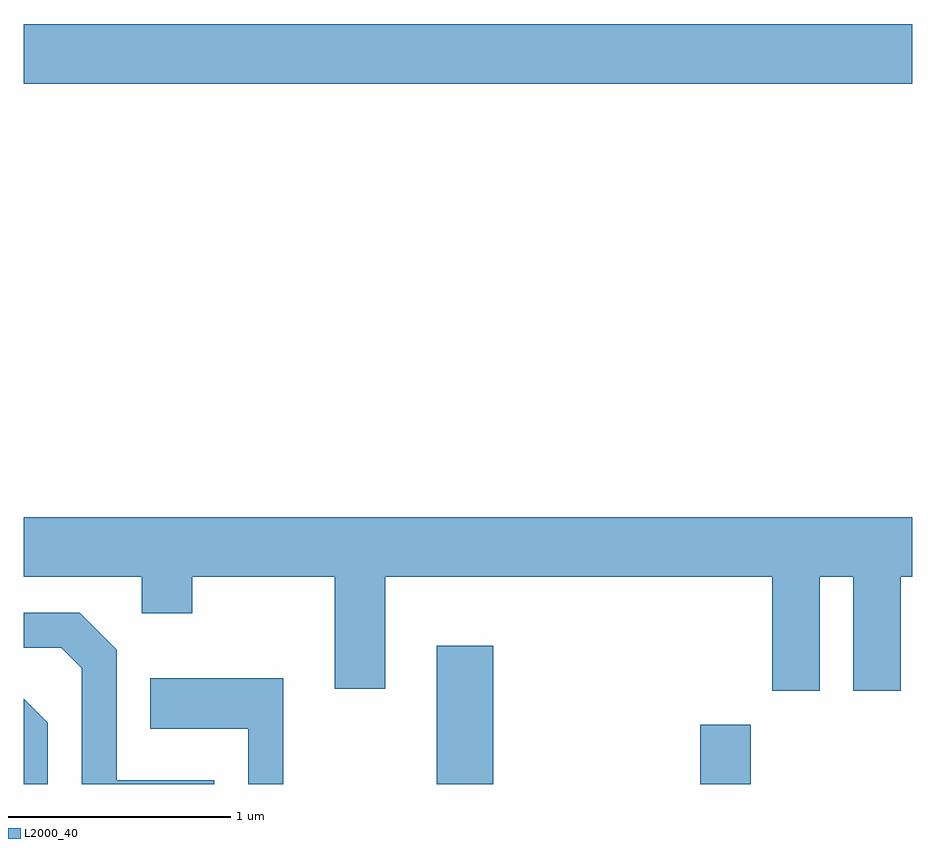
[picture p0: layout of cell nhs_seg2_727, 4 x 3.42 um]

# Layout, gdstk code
import gdstk
lib = gdstk.Library(unit=1e-6, precision=1e-09)
def R(c, l, rs):  # rectangles x0, y0, x1, y1
    for r in rs: c.add(gdstk.rectangle(r[:2], r[2:], *l))
def P(c, l, *ps):  # polygons
    for p in ps: c.add(gdstk.Polygon(p, *l))
L2000_40 = (2000, 40)

nhs_seg2_727 = lib.new_cell('nhs_seg2_727')
R(nhs_seg2_727, L2000_40, [(207.471,1071.802,207.724,1072.424), (208.656,1071.802,208.884,1072.069), (205.611,1074.956,209.611,1075.224)])
P(nhs_seg2_727, L2000_40, [(209.194,1072.736),(209.346,1072.736),(209.346,1072.221),(209.559,1072.221),(209.559,1072.736),(209.611,1072.736),(209.611,1073.004),(205.611,1073.004),(205.611,1072.736),(206.141,1072.736),(206.141,1072.571),(206.369,1072.571),(206.369,1072.736),(207.011,1072.736),(207.011,1072.231),(207.239,1072.231),(207.239,1072.736),(208.981,1072.736),(208.981,1072.221),(209.194,1072.221)],
  [(206.469,1071.819),(206.029,1071.819),(206.029,1072.407),(205.862,1072.574),(205.611,1072.574),(205.611,1072.416),(205.779,1072.416),(205.871,1072.324),(205.871,1071.802),(206.469,1071.802)],
  [(206.779,1072.279),(206.181,1072.279),(206.181,1072.051),(206.621,1072.051),(206.621,1071.802),(206.779,1071.802)],
  [(205.719,1072.077),(205.611,1072.185),(205.611,1071.802),(205.719,1071.802)])

lib.write_gds('nhs_seg2_727.gds')
